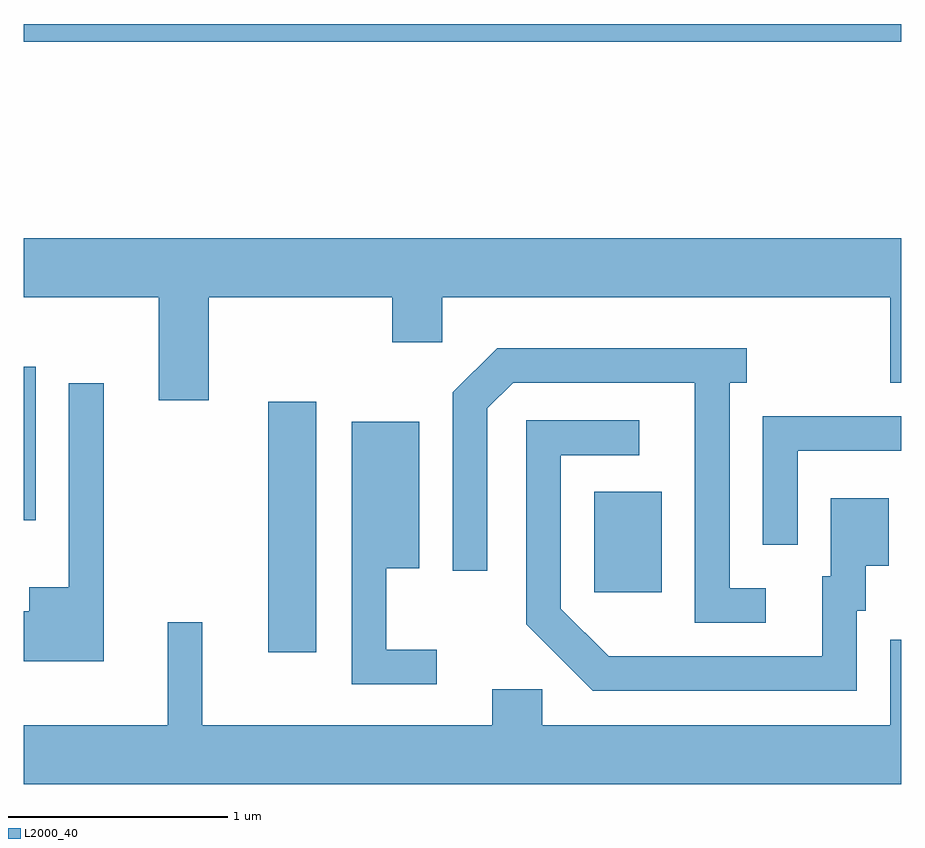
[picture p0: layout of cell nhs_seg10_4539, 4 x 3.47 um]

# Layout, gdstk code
import gdstk
lib = gdstk.Library(unit=1e-6, precision=1e-09)
def R(c, l, rs):  # rectangles x0, y0, x1, y1
    for r in rs: c.add(gdstk.rectangle(r[:2], r[2:], *l))
def P(c, l, *ps):  # polygons
    for p in ps: c.add(gdstk.Polygon(p, *l))
L2000_40 = (2000, 40)

nhs_seg10_4539 = lib.new_cell('nhs_seg10_4539')
R(nhs_seg10_4539, L2000_40, [(320.726,2085.656,320.944,2086.799), (322.211,2085.931,322.519,2086.389), (319.611,2086.258,319.664,2086.959), (319.611,2088.441,323.611,2088.522)])
P(nhs_seg10_4539, L2000_40, [(320.454,2087.276),(321.291,2087.276),(321.291,2087.071),(321.519,2087.071),(321.519,2087.276),(323.561,2087.276),(323.561,2086.886),(323.611,2086.886),(323.611,2087.544),(319.611,2087.544),(319.611,2087.276),(320.226,2087.276),(320.226,2086.806),(320.454,2086.806)],
  [(322.993,2085.949),(322.829,2085.949),(322.829,2086.886),(322.908,2086.886),(322.908,2087.044),(321.769,2087.044),(321.566,2086.842),(321.566,2086.028),(321.724,2086.028),(321.724,2086.769),(321.842,2086.886),(322.671,2086.886),(322.671,2085.791),(322.993,2085.791)],
  [(319.974,2086.883),(319.816,2086.883),(319.816,2085.954),(319.636,2085.954),(319.636,2085.844),(319.611,2085.844),(319.611,2085.616),(319.974,2085.616)],
  [(323.139,2086.576),(323.611,2086.576),(323.611,2086.734),(322.981,2086.734),(322.981,2086.148),(323.139,2086.148)],
  [(323.409,2085.846),(323.449,2085.846),(323.449,2086.051),(323.554,2086.051),(323.554,2086.359),(323.291,2086.359),(323.291,2086.004),(323.251,2086.004),(323.251,2085.639),(322.277,2085.639),(322.059,2085.856),(322.059,2086.556),(322.418,2086.556),(322.418,2086.714),(321.901,2086.714),(321.901,2085.784),(322.204,2085.481),(323.409,2085.481)],
  [(321.493,2085.669),(321.264,2085.669),(321.264,2086.041),(321.414,2086.041),(321.414,2086.709),(321.106,2086.709),(321.106,2085.511),(321.493,2085.511)],
  [(323.611,2085.714),(323.561,2085.714),(323.561,2085.324),(321.974,2085.324),(321.974,2085.489),(321.746,2085.489),(321.746,2085.324),(320.424,2085.324),(320.424,2085.793),(320.266,2085.793),(320.266,2085.324),(319.611,2085.324),(319.611,2085.056),(323.611,2085.056)])

lib.write_gds('nhs_seg10_4539.gds')
